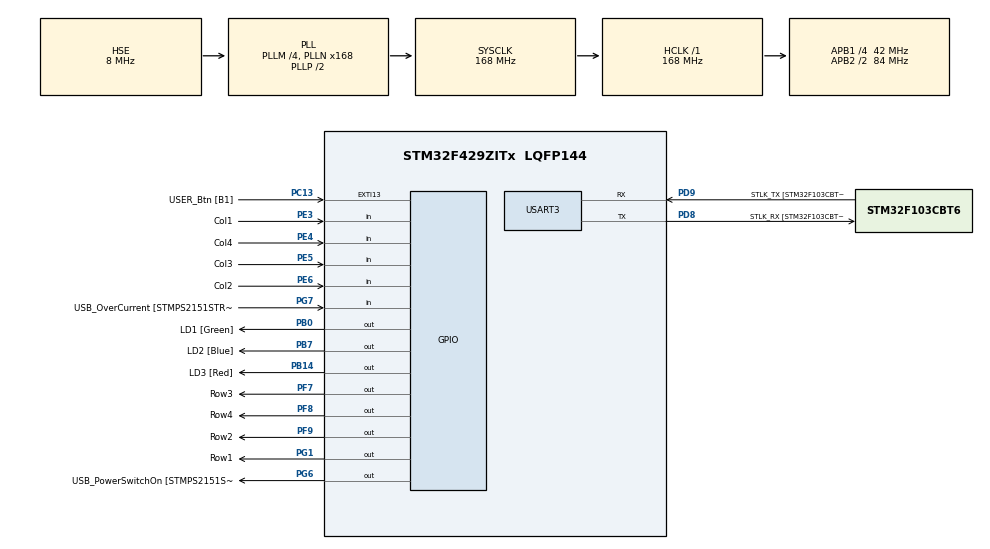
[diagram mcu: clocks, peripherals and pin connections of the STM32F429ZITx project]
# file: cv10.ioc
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Mcu.Family=STM32F4
Mcu.Name=STM32F429ZITx
Mcu.Package=LQFP144
NVIC.PriorityGroup=NVIC_PRIORITYGROUP_4
NVIC.TIM3_IRQn=true\:0\:0\:false\:false\:true\:true\:true\:true
PA1.GPIO_Label=RMII_REF_CLK [LAN8742A-CZ-TR_REFCLK0]
PA1.Signal=ETH_REF_CLK
PA10.GPIO_Label=USB_ID
PA10.Signal=USB_OTG_FS_ID
PA11.GPIO_Label=USB_DM
PA11.Signal=USB_OTG_FS_DM
PA12.GPIO_Label=USB_DP
PA12.Signal=USB_OTG_FS_DP
PA13.GPIO_Label=TMS
PA13.Mode=Serial_Wire
PA13.Signal=SYS_JTMS-SWDIO
PA14.GPIO_Label=TCK
PA14.Mode=Serial_Wire
PA14.Signal=SYS_JTCK-SWCLK
PA2.GPIO_Label=RMII_MDIO [LAN8742A-CZ-TR_MDIO]
PA2.Signal=ETH_MDIO
PA7.GPIO_Label=RMII_CRS_DV [LAN8742A-CZ-TR_CRS_DV]
PA7.Signal=ETH_CRS_DV
PA8.GPIO_Label=USB_SOF [TP1]
PA8.Signal=USB_OTG_FS_SOF
PA9.GPIO_Label=USB_VBUS
PA9.Signal=USB_OTG_FS_VBUS
PB0.GPIO_Label=LD1 [Green]
PB0.Signal=GPIO_Output
PB13.GPIO_Label=RMII_TXD1 [LAN8742A-CZ-TR_TXD1]
PB13.Signal=ETH_TXD1
PB14.GPIO_Label=LD3 [Red]
PB14.Signal=GPIO_Output
PB7.GPIO_Label=LD2 [Blue]
PB7.Signal=GPIO_Output
PC1.GPIO_Label=RMII_MDC [LAN8742A-CZ-TR_MDC]
PC1.Signal=ETH_MDC
PC13.GPIO_Label=USER_Btn [B1]
PC13.Signal=GPXTI13
PC14/OSC32_IN.Mode=LSE-External-Oscillator
PC14/OSC32_IN.Signal=RCC_OSC32_IN
PC15/OSC32_OUT.Mode=LSE-External-Oscillator
PC15/OSC32_OUT.Signal=RCC_OSC32_OUT
PC4.GPIO_Label=RMII_RXD0 [LAN8742A-CZ-TR_RXD0]
PC4.Signal=ETH_RXD0
PC5.GPIO_Label=RMII_RXD1 [LAN8742A-CZ-TR_RXD1]
PC5.Signal=ETH_RXD1
PD8.GPIO_Label=STLK_RX [STM32F103CBT6_PA3]
PD8.Mode=Asynchronous
PD8.Signal=USART3_TX
PD9.GPIO_Label=STLK_TX [STM32F103CBT6_PA2]
PD9.Mode=Asynchronous
PD9.Signal=USART3_RX
PE3.GPIO_Label=Col1
PE3.GPIO_PuPd=GPIO_PULLUP
PE3.Signal=GPIO_Input
PE4.GPIO_Label=Col4
PE4.GPIO_PuPd=GPIO_PULLUP
PE4.Signal=GPIO_Input
PE5.GPIO_Label=Col3
PE5.GPIO_PuPd=GPIO_PULLUP
PE5.Signal=GPIO_Input
PE6.GPIO_Label=Col2
PE6.GPIO_PuPd=GPIO_PULLUP
PE6.Signal=GPIO_Input
PF7.GPIO_Label=Row3
PF7.GPIO_ModeDefaultOutputPP=GPIO_MODE_OUTPUT_OD
PF7.GPIO_PuPd=GPIO_NOPULL
PF7.Signal=GPIO_Output
PF8.GPIO_Label=Row4
PF8.GPIO_ModeDefaultOutputPP=GPIO_MODE_OUTPUT_OD
PF8.GPIO_PuPd=GPIO_NOPULL
PF8.Signal=GPIO_Output
PF9.GPIO_Label=Row2
PF9.GPIO_ModeDefaultOutputPP=GPIO_MODE_OUTPUT_OD
PF9.GPIO_PuPd=GPIO_NOPULL
PF9.Signal=GPIO_Output
PG1.GPIO_Label=Row1
PG1.GPIO_ModeDefaultOutputPP=GPIO_MODE_OUTPUT_OD
PG1.GPIO_PuPd=GPIO_NOPULL
PG1.Signal=GPIO_Output
PG11.GPIO_Label=RMII_TX_EN [LAN8742A-CZ-TR_TXEN]
PG11.Signal=ETH_TX_EN
PG13.GPIO_Label=RMII_TXD0 [LAN8742A-CZ-TR_TXD0]
PG13.Signal=ETH_TXD0
PG6.GPIO_Label=USB_PowerSwitchOn [STMPS2151STR_EN]
PG6.Signal=GPIO_Output
PG7.GPIO_Label=USB_OverCurrent [STMPS2151STR_FAULT]
PG7.Signal=GPIO_Input
PH0/OSC_IN.GPIO_Label=MCO [STM32F103CBT6_PA8]
PH0/OSC_IN.Mode=HSE-External-Clock-Source
PH0/OSC_IN.Signal=RCC_OSC_IN
PH1/OSC_OUT.Mode=HSE-External-Clock-Source
PH1/OSC_OUT.Signal=RCC_OSC_OUT
ProjectManager.HeapSize=0x200
ProjectManager.StackSize=0x400
ProjectManager.TargetToolchain=STM32CubeIDE
RCC.48MHZClocksFreq_Value=48000000
RCC.AHBFreq_Value=168000000
RCC.APB1CLKDivider=RCC_HCLK_DIV4
RCC.APB1Freq_Value=42000000
RCC.APB1TimFreq_Value=84000000
RCC.APB2CLKDivider=RCC_HCLK_DIV2
RCC.APB2Freq_Value=84000000
RCC.APB2TimCLKDivider=2
RCC.APB2TimFreq_Value=168000000
RCC.CortexFreq_Value=168000000
RCC.HCLKFreq_Value=168000000
RCC.HSE_VALUE=8000000
RCC.HSI_VALUE=16000000
RCC.PLLM=4
RCC.PLLMUL=RCC_PLL_MUL9
RCC.PLLN=168
RCC.PLLQ=7
RCC.PLLSourceVirtual=RCC_PLLSOURCE_HSE
RCC.PRESCALERUSB=RCC_USBCLKSOURCE_PLL_DIV1_5
RCC.SYSCLKFreq_VALUE=168000000
RCC.SYSCLKSource=RCC_SYSCLKSOURCE_PLLCLK
RCC.SYSCLKSourceVirtual=RCC_SYSCLKSOURCE_PLLCLK
RCC.USBFreq_Value=48000000
RCC.VCOOutputFreq_Value=336000000
TIM3.AutoReloadPreload=TIM_AUTORELOAD_PRELOAD_ENABLE
TIM3.Period=99
TIM3.Prescaler=8399
USART3.VirtualMode=VM_ASYNC
VP_TIM3_VS_ClockSourceINT.Mode=Internal
board=NUCLEO-F429ZI

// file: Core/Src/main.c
/* USER CODE BEGIN Header */
/**
  ******************************************************************************
  * @file           : main.c
  * @brief          : Main program body
  ******************************************************************************
  * @attention
  *
  * Copyright (c) 2024 STMicroelectronics.
  * All rights reserved.
  *
  * This software is licensed under terms that can be found in the LICENSE file
  * in the root directory of this software component.
  * If no LICENSE file comes with this software, it is provided AS-IS.
  *
  ******************************************************************************
  */
/* USER CODE END Header */
#include "main.h"

/* USER CODE BEGIN Includes */
#include <stdio.h>
#include <stdbool.h>
/* USER CODE END Includes */

TIM_HandleTypeDef htim3;

UART_HandleTypeDef huart3;

/* USER CODE BEGIN PV */
static volatile int8_t key = 0;
static const uint8_t konst[] = {'7', '9', '3', '2'};
/* USER CODE END PV */

void SystemClock_Config(void);
static void MX_GPIO_Init(void);
static void MX_USART3_UART_Init(void);
static void MX_TIM3_Init(void);

/* USER CODE BEGIN 0 */
int __io_putchar(int ch)
{
	ITM_SendChar(ch);
	return 0;
}
/* USER CODE END 0 */

int main(void)
{

  /* MCU Configuration--------------------------------------------------------*/

  /* Reset of all peripherals, Initializes the Flash interface and the Systick. */
  HAL_Init();

  /* Configure the system clock */
  SystemClock_Config();

  /* Initialize all configured peripherals */
  MX_GPIO_Init();
  MX_USART3_UART_Init();
  MX_TIM3_Init();
  /* USER CODE BEGIN 2 */
  HAL_TIM_Base_Start_IT(&htim3);
  /* USER CODE END 2 */

  /* Infinite loop */
  /* USER CODE BEGIN WHILE */
  while (1)
  {
	  //HAL_GPIO_TogglePin(LD1_GPIO_Port, LD1_Pin);
	  static int i;
	  //HAL_Delay(250);
	  //printf("AHOj %d \n", ++i);
	  static uint8_t pos1 =0;
	  static uint32_t lastTick = 0;
	  bool correct = 0;
	  if (key!= 0)
	  {

	      if (key == konst[pos1])
	      {
	          if (++pos1 >= sizeof(konst))
	          {
	              HAL_GPIO_WritePin(LD1_GPIO_Port, LD1_Pin, 1);
	              correct = true;
	          }
	      }
	      else
	      {
	          pos1 = 0;
	      }

	      printf("Konst = %c > Pos1 = %d\n", key, pos1);

	      if (correct)
	      {
	          printf("Správně\n");
	          correct = false;
	          pos1 = 0;
	      }

	      HAL_Delay(1000);
	      HAL_GPIO_WritePin(LD1_GPIO_Port, LD1_Pin, 0);
	      key = 0;
	      lastTick = HAL_GetTick();
	  }

	  if (HAL_GetTick() - lastTick > 3000 && pos1)
	  {
	      printf("Timeout\n");
	      pos1 = 0;
	  }
	  /*if (key != 0)
	  {
		  	printf("stisknuto '%c'\n", key);
		  	HAL_Delay(500);
		  	key = 0;
	  }*/

    /* USER CODE END WHILE */

  }
}

void SystemClock_Config(void)
{
  RCC_OscInitTypeDef RCC_OscInitStruct = {0};
  RCC_ClkInitTypeDef RCC_ClkInitStruct = {0};

  /** Configure the main internal regulator output voltage
  */
  __HAL_RCC_PWR_CLK_ENABLE();
  __HAL_PWR_VOLTAGESCALING_CONFIG(PWR_REGULATOR_VOLTAGE_SCALE1);

  /** Initializes the RCC Oscillators according to the specified parameters
  * in the RCC_OscInitTypeDef structure.
  */
  RCC_OscInitStruct.OscillatorType = RCC_OSCILLATORTYPE_HSE;
  RCC_OscInitStruct.HSEState = RCC_HSE_BYPASS;
  RCC_OscInitStruct.PLL.PLLState = RCC_PLL_ON;
  RCC_OscInitStruct.PLL.PLLSource = RCC_PLLSOURCE_HSE;
  RCC_OscInitStruct.PLL.PLLM = 4;
  RCC_OscInitStruct.PLL.PLLN = 168;
  RCC_OscInitStruct.PLL.PLLP = RCC_PLLP_DIV2;
  RCC_OscInitStruct.PLL.PLLQ = 7;
  if (HAL_RCC_OscConfig(&RCC_OscInitStruct) != HAL_OK)
  {
    Error_Handler();
  }

  /** Initializes the CPU, AHB and APB buses clocks
  */
  RCC_ClkInitStruct.ClockType = RCC_CLOCKTYPE_HCLK|RCC_CLOCKTYPE_SYSCLK
                              |RCC_CLOCKTYPE_PCLK1|RCC_CLOCKTYPE_PCLK2;
  RCC_ClkInitStruct.SYSCLKSource = RCC_SYSCLKSOURCE_PLLCLK;
  RCC_ClkInitStruct.AHBCLKDivider = RCC_SYSCLK_DIV1;
  RCC_ClkInitStruct.APB1CLKDivider = RCC_HCLK_DIV4;
  RCC_ClkInitStruct.APB2CLKDivider = RCC_HCLK_DIV2;

  if (HAL_RCC_ClockConfig(&RCC_ClkInitStruct, FLASH_LATENCY_5) != HAL_OK)
  {
    Error_Handler();
  }
}

static void MX_TIM3_Init(void)
{

  TIM_ClockConfigTypeDef sClockSourceConfig = {0};
  TIM_MasterConfigTypeDef sMasterConfig = {0};

  htim3.Instance = TIM3;
  htim3.Init.Prescaler = 8399;
  htim3.Init.CounterMode = TIM_COUNTERMODE_UP;
  htim3.Init.Period = 99;
  htim3.Init.ClockDivision = TIM_CLOCKDIVISION_DIV1;
  htim3.Init.AutoReloadPreload = TIM_AUTORELOAD_PRELOAD_ENABLE;
  if (HAL_TIM_Base_Init(&htim3) != HAL_OK)
  {
    Error_Handler();
  }
  sClockSourceConfig.ClockSource = TIM_CLOCKSOURCE_INTERNAL;
  if (HAL_TIM_ConfigClockSource(&htim3, &sClockSourceConfig) != HAL_OK)
  {
    Error_Handler();
  }
  sMasterConfig.MasterOutputTrigger = TIM_TRGO_RESET;
  sMasterConfig.MasterSlaveMode = TIM_MASTERSLAVEMODE_DISABLE;
  if (HAL_TIMEx_MasterConfigSynchronization(&htim3, &sMasterConfig) != HAL_OK)
  {
    Error_Handler();
  }

}

static void MX_USART3_UART_Init(void)
{

  huart3.Instance = USART3;
  huart3.Init.BaudRate = 115200;
  huart3.Init.WordLength = UART_WORDLENGTH_8B;
  huart3.Init.StopBits = UART_STOPBITS_1;
  huart3.Init.Parity = UART_PARITY_NONE;
  huart3.Init.Mode = UART_MODE_TX_RX;
  huart3.Init.HwFlowCtl = UART_HWCONTROL_NONE;
  huart3.Init.OverSampling = UART_OVERSAMPLING_16;
  if (HAL_UART_Init(&huart3) != HAL_OK)
  {
    Error_Handler();
  }

}

static void MX_GPIO_Init(void)
{
  GPIO_InitTypeDef GPIO_InitStruct = {0};

  /* GPIO Ports Clock Enable */
  __HAL_RCC_GPIOE_CLK_ENABLE();
  __HAL_RCC_GPIOC_CLK_ENABLE();
  __HAL_RCC_GPIOF_CLK_ENABLE();
  __HAL_RCC_GPIOH_CLK_ENABLE();
  __HAL_RCC_GPIOA_CLK_ENABLE();
  __HAL_RCC_GPIOB_CLK_ENABLE();
  __HAL_RCC_GPIOG_CLK_ENABLE();
  __HAL_RCC_GPIOD_CLK_ENABLE();

  /*Configure GPIO pin Output Level */
  HAL_GPIO_WritePin(GPIOF, Row3_Pin|Row4_Pin|Row2_Pin, GPIO_PIN_RESET);

  /*Configure GPIO pin Output Level */
  HAL_GPIO_WritePin(GPIOB, LD1_Pin|LD3_Pin|LD2_Pin, GPIO_PIN_RESET);

  /*Configure GPIO pin Output Level */
  HAL_GPIO_WritePin(GPIOG, Row1_Pin|USB_PowerSwitchOn_Pin, GPIO_PIN_RESET);

  /*Configure GPIO pins : Col1_Pin Col4_Pin Col3_Pin Col2_Pin */
  GPIO_InitStruct.Pin = Col1_Pin|Col4_Pin|Col3_Pin|Col2_Pin;
  GPIO_InitStruct.Mode = GPIO_MODE_INPUT;
  GPIO_InitStruct.Pull = GPIO_PULLUP;
  HAL_GPIO_Init(GPIOE, &GPIO_InitStruct);

  /*Configure GPIO pin : USER_Btn_Pin */
  GPIO_InitStruct.Pin = USER_Btn_Pin;
  GPIO_InitStruct.Mode = GPIO_MODE_IT_RISING;
  GPIO_InitStruct.Pull = GPIO_NOPULL;
  HAL_GPIO_Init(USER_Btn_GPIO_Port, &GPIO_InitStruct);

  /*Configure GPIO pins : Row3_Pin Row4_Pin Row2_Pin */
  GPIO_InitStruct.Pin = Row3_Pin|Row4_Pin|Row2_Pin;
  GPIO_InitStruct.Mode = GPIO_MODE_OUTPUT_OD;
  GPIO_InitStruct.Pull = GPIO_NOPULL;
  GPIO_InitStruct.Speed = GPIO_SPEED_FREQ_LOW;
  HAL_GPIO_Init(GPIOF, &GPIO_InitStruct);

  /*Configure GPIO pins : RMII_MDC_Pin RMII_RXD0_Pin RMII_RXD1_Pin */
  GPIO_InitStruct.Pin = RMII_MDC_Pin|RMII_RXD0_Pin|RMII_RXD1_Pin;
  GPIO_InitStruct.Mode = GPIO_MODE_AF_PP;
  GPIO_InitStruct.Pull = GPIO_NOPULL;
  GPIO_InitStruct.Speed = GPIO_SPEED_FREQ_VERY_HIGH;
  GPIO_InitStruct.Alternate = GPIO_AF11_ETH;
  HAL_GPIO_Init(GPIOC, &GPIO_InitStruct);

  /*Configure GPIO pins : RMII_REF_CLK_Pin RMII_MDIO_Pin RMII_CRS_DV_Pin */
  GPIO_InitStruct.Pin = RMII_REF_CLK_Pin|RMII_MDIO_Pin|RMII_CRS_DV_Pin;
  GPIO_InitStruct.Mode = GPIO_MODE_AF_PP;
  GPIO_InitStruct.Pull = GPIO_NOPULL;
  GPIO_InitStruct.Speed = GPIO_SPEED_FREQ_VERY_HIGH;
  GPIO_InitStruct.Alternate = GPIO_AF11_ETH;
  HAL_GPIO_Init(GPIOA, &GPIO_InitStruct);

  /*Configure GPIO pins : LD1_Pin LD3_Pin LD2_Pin */
  GPIO_InitStruct.Pin = LD1_Pin|LD3_Pin|LD2_Pin;
  GPIO_InitStruct.Mode = GPIO_MODE_OUTPUT_PP;
  GPIO_InitStruct.Pull = GPIO_NOPULL;
  GPIO_InitStruct.Speed = GPIO_SPEED_FREQ_LOW;
  HAL_GPIO_Init(GPIOB, &GPIO_InitStruct);

  /*Configure GPIO pin : Row1_Pin */
  GPIO_InitStruct.Pin = Row1_Pin;
  GPIO_InitStruct.Mode = GPIO_MODE_OUTPUT_OD;
  GPIO_InitStruct.Pull = GPIO_NOPULL;
  GPIO_InitStruct.Speed = GPIO_SPEED_FREQ_LOW;
  HAL_GPIO_Init(Row1_GPIO_Port, &GPIO_InitStruct);

  /*Configure GPIO pin : RMII_TXD1_Pin */
  GPIO_InitStruct.Pin = RMII_TXD1_Pin;
  GPIO_InitStruct.Mode = GPIO_MODE_AF_PP;
  GPIO_InitStruct.Pull = GPIO_NOPULL;
  GPIO_InitStruct.Speed = GPIO_SPEED_FREQ_VERY_HIGH;
  GPIO_InitStruct.Alternate = GPIO_AF11_ETH;
  HAL_GPIO_Init(RMII_TXD1_GPIO_Port, &GPIO_InitStruct);

  /*Configure GPIO pin : USB_PowerSwitchOn_Pin */
  GPIO_InitStruct.Pin = USB_PowerSwitchOn_Pin;
  GPIO_InitStruct.Mode = GPIO_MODE_OUTPUT_PP;
  GPIO_InitStruct.Pull = GPIO_NOPULL;
  GPIO_InitStruct.Speed = GPIO_SPEED_FREQ_LOW;
  HAL_GPIO_Init(USB_PowerSwitchOn_GPIO_Port, &GPIO_InitStruct);

  /*Configure GPIO pin : USB_OverCurrent_Pin */
  GPIO_InitStruct.Pin = USB_OverCurrent_Pin;
  GPIO_InitStruct.Mode = GPIO_MODE_INPUT;
  GPIO_InitStruct.Pull = GPIO_NOPULL;
  HAL_GPIO_Init(USB_OverCurrent_GPIO_Port, &GPIO_InitStruct);

  /*Configure GPIO pins : USB_SOF_Pin USB_ID_Pin USB_DM_Pin USB_DP_Pin */
  GPIO_InitStruct.Pin = USB_SOF_Pin|USB_ID_Pin|USB_DM_Pin|USB_DP_Pin;
  GPIO_InitStruct.Mode = GPIO_MODE_AF_PP;
  GPIO_InitStruct.Pull = GPIO_NOPULL;
  GPIO_InitStruct.Speed = GPIO_SPEED_FREQ_VERY_HIGH;
  GPIO_InitStruct.Alternate = GPIO_AF10_OTG_FS;
  HAL_GPIO_Init(GPIOA, &GPIO_InitStruct);

  /*Configure GPIO pin : USB_VBUS_Pin */
  GPIO_InitStruct.Pin = USB_VBUS_Pin;
  GPIO_InitStruct.Mode = GPIO_MODE_INPUT;
  GPIO_InitStruct.Pull = GPIO_NOPULL;
  HAL_GPIO_Init(USB_VBUS_GPIO_Port, &GPIO_InitStruct);

  /*Configure GPIO pins : RMII_TX_EN_Pin RMII_TXD0_Pin */
  GPIO_InitStruct.Pin = RMII_TX_EN_Pin|RMII_TXD0_Pin;
  GPIO_InitStruct.Mode = GPIO_MODE_AF_PP;
  GPIO_InitStruct.Pull = GPIO_NOPULL;
  GPIO_InitStruct.Speed = GPIO_SPEED_FREQ_VERY_HIGH;
  GPIO_InitStruct.Alternate = GPIO_AF11_ETH;
  HAL_GPIO_Init(GPIOG, &GPIO_InitStruct);

}

/* USER CODE BEGIN 4 */
void HAL_TIM_PeriodElapsedCallback(TIM_HandleTypeDef *htim)
{
	static uint8_t row = 0;
	static const char keyboard[4][4] = {
			{ '1', '2', '3', 'A' },
			{ '4', '5', '6', 'B' },
			{ '7', '8', '9', 'C' },
			{ '*', '0', '#', 'D' },
	};

	if (key == 0)
	{
		if (HAL_GPIO_ReadPin(Col1_GPIO_Port, Col1_Pin) == GPIO_PIN_RESET) key = keyboard[row][0];
		if (HAL_GPIO_ReadPin(Col2_GPIO_Port, Col2_Pin) == GPIO_PIN_RESET) key = keyboard[row][1];
		if (HAL_GPIO_ReadPin(Col3_GPIO_Port, Col3_Pin) == GPIO_PIN_RESET) key = keyboard[row][2];
		if (HAL_GPIO_ReadPin(Col4_GPIO_Port, Col4_Pin) == GPIO_PIN_RESET) key = keyboard[row][3];
	}
	HAL_GPIO_WritePin(Row1_GPIO_Port, Row1_Pin, GPIO_PIN_SET);
	HAL_GPIO_WritePin(Row2_GPIO_Port, Row2_Pin, GPIO_PIN_SET);
	HAL_GPIO_WritePin(Row3_GPIO_Port, Row3_Pin, GPIO_PIN_SET);
	HAL_GPIO_WritePin(Row4_GPIO_Port, Row4_Pin, GPIO_PIN_SET);
	switch (row) {
	case 0: row = 1; HAL_GPIO_WritePin(Row2_GPIO_Port, Row2_Pin, GPIO_PIN_RESET); break;
	case 1: row = 2; HAL_GPIO_WritePin(Row3_GPIO_Port, Row3_Pin, GPIO_PIN_RESET); break;
	case 2: row = 3; HAL_GPIO_WritePin(Row4_GPIO_Port, Row4_Pin, GPIO_PIN_RESET); break;
	case 3: row = 0; HAL_GPIO_WritePin(Row1_GPIO_Port, Row1_Pin, GPIO_PIN_RESET); break;

	}
}
/* USER CODE END 4 */

void Error_Handler(void)
{
  __disable_irq();
  while (1)
  {
  }
}
